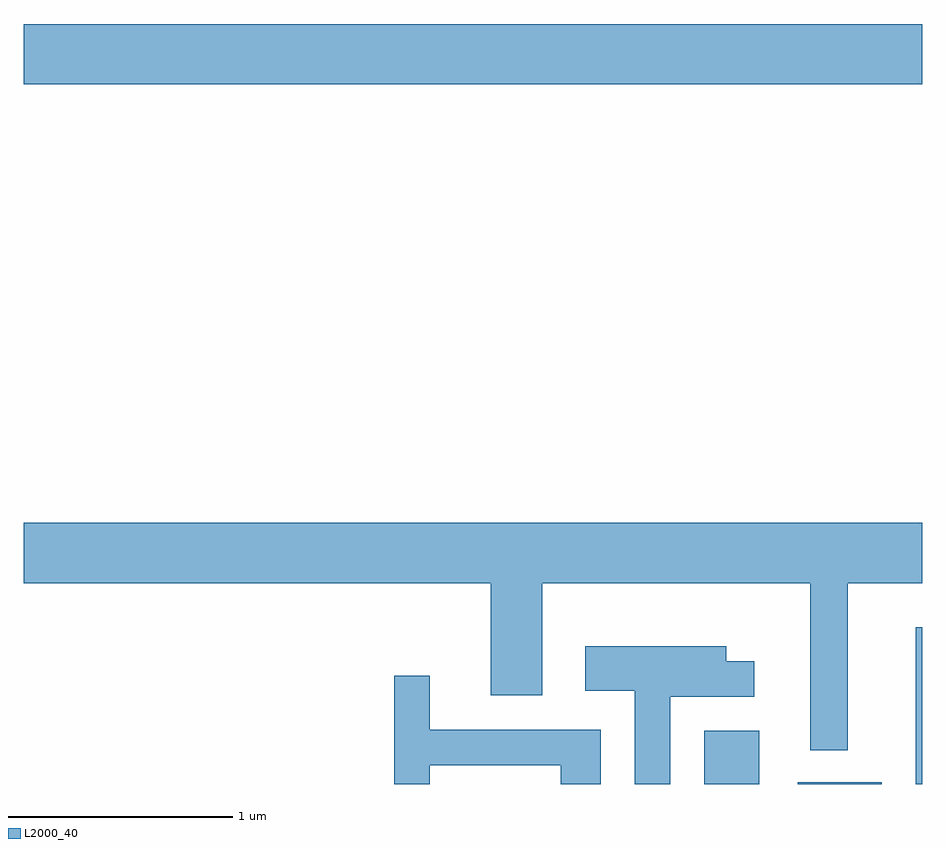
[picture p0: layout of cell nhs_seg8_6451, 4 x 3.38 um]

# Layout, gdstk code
import gdstk
lib = gdstk.Library(unit=1e-6, precision=1e-09)
def R(c, l, rs):  # rectangles x0, y0, x1, y1
    for r in rs: c.add(gdstk.rectangle(r[:2], r[2:], *l))
def P(c, l, *ps):  # polygons
    for p in ps: c.add(gdstk.Polygon(p, *l))
L2000_40 = (2000, 40)

nhs_seg8_6451 = lib.new_cell('nhs_seg8_6451')
R(nhs_seg8_6451, L2000_40, [(380.641,1904.342,380.884,1904.579), (381.056,1904.342,381.429,1904.349), (381.581,1904.342,381.611,1905.039), (377.611,1907.456,381.611,1907.724)])
P(nhs_seg8_6451, L2000_40, [(381.279,1905.236),(381.611,1905.236),(381.611,1905.504),(377.611,1905.504),(377.611,1905.236),(379.691,1905.236),(379.691,1904.736),(379.919,1904.736),(379.919,1905.236),(381.111,1905.236),(381.111,1904.493),(381.279,1904.493)],
  [(380.489,1904.731),(380.863,1904.731),(380.863,1904.889),(380.739,1904.889),(380.739,1904.954),(380.111,1904.954),(380.111,1904.756),(380.331,1904.756),(380.331,1904.342),(380.489,1904.342)],
  [(379.419,1904.426),(380.001,1904.426),(380.001,1904.342),(380.179,1904.342),(380.179,1904.584),(379.419,1904.584),(379.419,1904.823),(379.261,1904.823),(379.261,1904.342),(379.419,1904.342)])

lib.write_gds('nhs_seg8_6451.gds')
